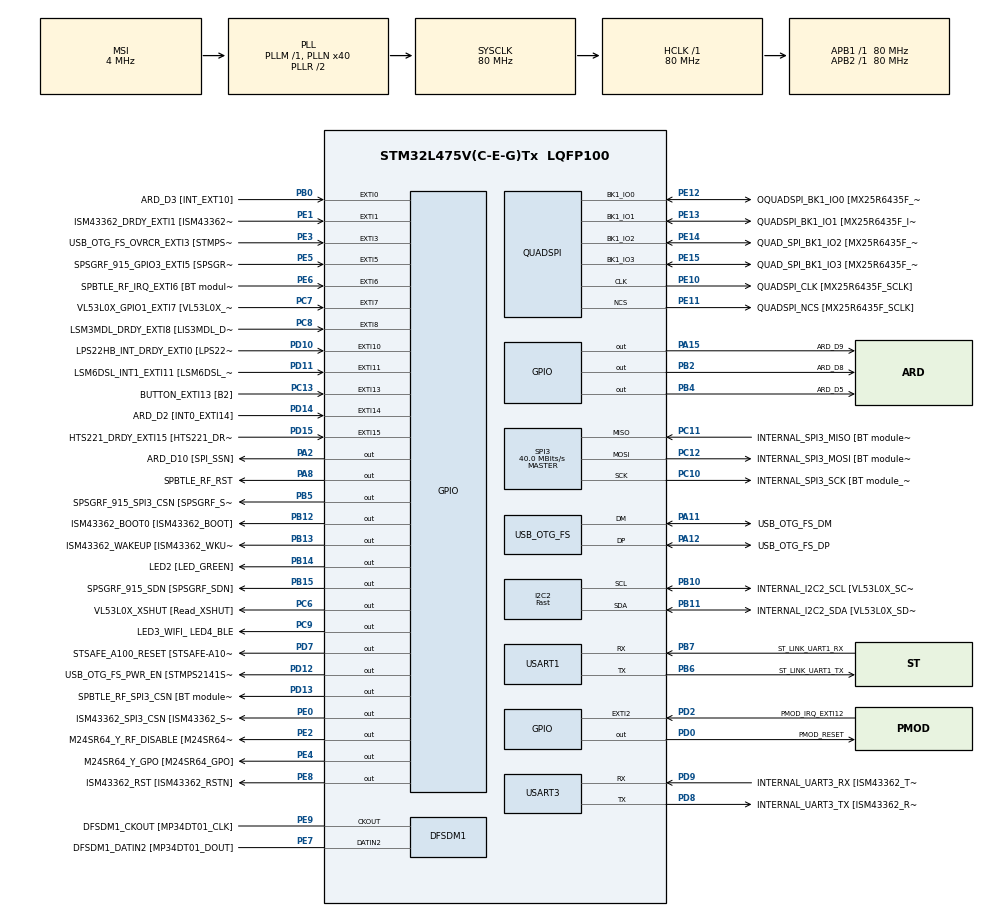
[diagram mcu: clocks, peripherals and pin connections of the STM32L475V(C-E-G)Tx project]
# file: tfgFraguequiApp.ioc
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I2C2.I2C_Speed_Mode=I2C_Fast
I2C2.Timing=0x00702991
Mcu.Family=STM32L4
Mcu.Name=STM32L475V(C-E-G)Tx
Mcu.Package=LQFP100
NVIC.EXTI15_10_IRQn=true\:0\:0\:false\:false\:true\:true\:true\:true
NVIC.EXTI9_5_IRQn=true\:0\:0\:false\:false\:true\:true\:true\:true
NVIC.PriorityGroup=NVIC_PRIORITYGROUP_4
PA0.GPIO_Label=ARD_D1 [UART4_TX]
PA0.Signal=UART4_TX
PA1.GPIO_Label=ARD_D0 [UART4_RX]
PA1.Signal=UART4_RX
PA10.GPIO_Label=USB_OTG_FS_ID
PA10.Signal=USB_OTG_FS_ID
PA11.GPIO_Label=USB_OTG_FS_DM
PA11.Mode=Device_Only
PA11.Signal=USB_OTG_FS_DM
PA12.GPIO_Label=USB_OTG_FS_DP
PA12.Mode=Device_Only
PA12.Signal=USB_OTG_FS_DP
PA13\ (JTMS-SWDIO).GPIO_Label=SYS_JTMS_SWDIO
PA13\ (JTMS-SWDIO).Mode=Serial_Wire
PA13\ (JTMS-SWDIO).Signal=SYS_JTMS-SWDIO
PA14\ (JTCK-SWCLK).GPIO_Label=SYS_JTCK_SWCLK
PA14\ (JTCK-SWCLK).Mode=Serial_Wire
PA14\ (JTCK-SWCLK).Signal=SYS_JTCK-SWCLK
PA15\ (JTDI).GPIO_Label=ARD_D9
PA15\ (JTDI).Signal=GPIO_Output
PA2.GPIO_Label=ARD_D10 [SPI_SSN]
PA2.Signal=GPIO_Output
PA3.GPIO_Label=ARD_D4
PA3.Signal=S_TIM2_CH4
PA4.GPIO_Label=ARD_D7
PA4.Signal=ADCx_IN9
PA5.GPIO_Label=ARD_D13 [SPI1_SCK]
PA5.Signal=SPI1_SCK
PA6.GPIO_Label=ARD_D12 [SPI1_MISO]
PA6.Signal=SPI1_MISO
PA7.GPIO_Label=ARD_D11 [SPI1_MOSI]
PA7.Signal=SPI1_MOSI
PA8.GPIO_Label=SPBTLE_RF_RST
PA8.Signal=GPIO_Output
PA9.GPIO_Label=USB_OTG_FS_VBUS [STMPS2141STR_OUT]
PA9.Signal=USB_OTG_FS_VBUS
PB0.GPIO_Label=ARD_D3 [INT_EXT10]
PB0.Signal=GPXTI0
PB1.GPIO_Label=ARD_D6 [ADC1_IN6]
PB1.Signal=ADCx_IN16
PB10.GPIO_Label=INTERNAL_I2C2_SCL [VL53L0X_SCL]
PB10.GPIO_Pu=GPIO_PULLUP
PB10.Mode=I2C
PB10.Signal=I2C2_SCL
PB11.GPIO_Label=INTERNAL_I2C2_SDA [VL53L0X_SDA]
PB11.GPIO_Pu=GPIO_PULLUP
PB11.Mode=I2C
PB11.Signal=I2C2_SDA
PB12.GPIO_Label=ISM43362_BOOT0 [ISM43362_BOOT]
PB12.Signal=GPIO_Output
PB13.GPIO_Label=ISM43362_WAKEUP [ISM43362_WKUP]
PB13.Signal=GPIO_Output
PB14.GPIO_Label=LED2 [LED_GREEN]
PB14.Signal=GPIO_Output
PB15.GPIO_Label=SPSGRF_915_SDN [SPSGRF_SDN]
PB15.Signal=GPIO_Output
PB2.GPIO_Label=ARD_D8
PB2.Signal=GPIO_Output
PB3\ (JTDO-TRACESWO).GPIO_Label=SYS_JTD0_SWO
PB3\ (JTDO-TRACESWO).Signal=SYS_JTDO-SWO
PB4\ (NJTRST).GPIO_Label=ARD_D5
PB4\ (NJTRST).Signal=GPIO_Output
PB5.GPIO_Label=SPSGRF_915_SPI3_CSN [SPSGRF_SPI_CS]
PB5.PinState=GPIO_PIN_SET
PB5.Signal=GPIO_Output
PB6.GPIO_Label=ST_LINK_UART1_TX
PB6.Mode=Asynchronous
PB6.Signal=USART1_TX
PB7.GPIO_Label=ST_LINK_UART1_RX
PB7.Mode=Asynchronous
PB7.Signal=USART1_RX
PB8.GPIO_Label=ARD_D15 [I2C1_SCL]
PB8.Signal=I2C1_SCL
PB9.GPIO_Label=ARD_D14 [I2C1_SDA]
PB9.Signal=I2C1_SDA
PC0.GPIO_Label=ARD_A5 [ADC]
PC0.Signal=ADCx_IN1
PC1.GPIO_Label=ARD_A4 [ADC]
PC1.Signal=ADCx_IN2
PC10.GPIO_Label=INTERNAL_SPI3_SCK [BT module_SPI_SCLK] [ISM43362_SCK]
PC10.Mode=Full_Duplex_Master
PC10.Signal=SPI3_SCK
PC11.GPIO_Label=INTERNAL_SPI3_MISO [BT module_SPI_MISO] [ISM43362_MISO]
PC11.Mode=Full_Duplex_Master
PC11.Signal=SPI3_MISO
PC12.GPIO_Label=INTERNAL_SPI3_MOSI [BT module_SPI_MOSI] [ISM43362_MOSI]
PC12.Mode=Full_Duplex_Master
PC12.Signal=SPI3_MOSI
PC13.GPIO_Label=BUTTON_EXTI13 [B2]
PC13.GPIO_ModeDefaultEXTI=GPIO_MODE_IT_FALLING
PC13.Signal=GPXTI13
PC14-OSC32_IN\ (PC14).Mode=LSE-External-Oscillator
PC14-OSC32_IN\ (PC14).Signal=RCC_OSC32_IN
PC15-OSC32_OUT\ (PC15).Mode=LSE-External-Oscillator
PC15-OSC32_OUT\ (PC15).Signal=RCC_OSC32_OUT
PC2.GPIO_Label=ARD_A3 [ADC]
PC2.Signal=ADCx_IN3
PC3.GPIO_Label=ARD_A2 [ADC]
PC3.Signal=ADCx_IN4
PC4.GPIO_Label=ARD_A1 [ADC]
PC4.Signal=ADCx_IN13
PC5.GPIO_Label=ARD_A0 [ADC]
PC5.Signal=ADCx_IN14
PC6.GPIO_Label=VL53L0X_XSHUT [Read_XSHUT]
PC6.Signal=GPIO_Output
PC7.GPIO_Label=VL53L0X_GPIO1_EXTI7 [VL53L0X_GPIO1]
PC7.Signal=GPXTI7
PC8.GPIO_Label=LSM3MDL_DRDY_EXTI8 [LIS3MDL_DRDY]
PC8.Signal=GPXTI8
PC9.GPIO_Label=LED3_WIFI_ LED4_BLE
PC9.Signal=GPIO_Output
PD0.GPIO_Label=PMOD_RESET
PD0.Signal=GPIO_Output
PD1.GPIO_Label=PMOD_SPI2_SCK
PD1.Signal=SPI2_SCK
PD10.GPIO_Label=LPS22HB_INT_DRDY_EXTI0 [LPS22HB_INT_DRDY] 
PD10.Signal=GPXTI10
PD11.GPIO_Label=LSM6DSL_INT1_EXTI11 [LSM6DSL_INT1]
PD11.Signal=GPXTI11
PD12.GPIO_Label=USB_OTG_FS_PWR_EN [STMPS2141STR_EN]
PD12.Signal=GPIO_Output
PD13.GPIO_Label=SPBTLE_RF_SPI3_CSN [BT module_SPI_CS]
PD13.PinState=GPIO_PIN_SET
PD13.Signal=GPIO_Output
PD14.GPIO_Label=ARD_D2 [INT0_EXTI14]
PD14.Signal=GPXTI14
PD15.GPIO_Label=HTS221_DRDY_EXTI15 [HTS221_DRDY]
PD15.Signal=GPXTI15
PD2.GPIO_Label=PMOD_IRQ_EXTI12
PD2.Signal=GPXTI2
PD3.GPIO_Label=PMOD_UART2_CTS
PD3.Signal=USART2_CTS
PD4.GPIO_Label=PMOD_UART2_RTS
PD4.Signal=USART2_RTS
PD5.GPIO_Label=PMOD_UART2_TX
PD5.Signal=USART2_TX
PD6.GPIO_Label=PMOD_UART2_RX
PD6.Signal=USART2_RX
PD7.GPIO_Label=STSAFE_A100_RESET [STSAFE-A100_RESET]
PD7.Signal=GPIO_Output
PD8.GPIO_Label=INTERNAL_UART3_TX [ISM43362_RX]
PD8.Mode=Asynchronous
PD8.Signal=USART3_TX
PD9.GPIO_Label=INTERNAL_UART3_RX [ISM43362_TX]
PD9.Mode=Asynchronous
PD9.Signal=USART3_RX
PE0.GPIO_Label=ISM43362_SPI3_CSN [ISM43362_SSN]
PE0.PinState=GPIO_PIN_SET
PE0.Signal=GPIO_Output
PE1.GPIO_Label=ISM43362_DRDY_EXTI1 [ISM43362_DATARDY]
PE1.Signal=GPXTI1
PE10.GPIO_Label=QUADSPI_CLK [MX25R6435F_SCLK]
PE10.Mode=Single Bank
PE10.Signal=QUADSPI_CLK
PE11.GPIO_Label=QUADSPI_NCS [MX25R6435F_SCLK]
PE11.Mode=Single Bank
PE11.Signal=QUADSPI_NCS
PE12.GPIO_Label=OQUADSPI_BK1_IO0 [MX25R6435F_IO0]
PE12.Mode=Single Bank
PE12.Signal=QUADSPI_BK1_IO0
PE13.GPIO_Label=QUADSPI_BK1_IO1 [MX25R6435F_IO1]
PE13.Mode=Single Bank
PE13.Signal=QUADSPI_BK1_IO1
PE14.GPIO_Label=QUAD_SPI_BK1_IO2 [MX25R6435F_IO2]
PE14.Mode=Single Bank
PE14.Signal=QUADSPI_BK1_IO2
PE15.GPIO_Label=QUAD_SPI_BK1_IO3 [MX25R6435F_IO3]
PE15.Mode=Single Bank
PE15.Signal=QUADSPI_BK1_IO3
PE2.GPIO_Label=M24SR64_Y_RF_DISABLE [M24SR64_RFDIS]
PE2.Signal=GPIO_Output
PE3.GPIO_Label=USB_OTG_FS_OVRCR_EXTI3 [STMPS2141STR_FAULT]
PE3.Signal=GPXTI3
PE4.GPIO_Label=M24SR64_Y_GPO [M24SR64_GPO]
PE4.Signal=GPIO_Output
PE5.GPIO_Label=SPSGRF_915_GPIO3_EXTI5 [SPSGRF_GPIO_3]
PE5.Signal=GPXTI5
PE6.GPIO_Label=SPBTLE_RF_IRQ_EXTI6 [BT module_SPI_IRQ]
PE6.Signal=GPXTI6
PE7.GPIO_Label=DFSDM1_DATIN2 [MP34DT01_DOUT]
PE7.Signal=S_DATAIN2DFSDM1
PE8.GPIO_Label=ISM43362_RST [ISM43362_RSTN]
PE8.Signal=GPIO_Output
PE9.GPIO_Label=DFSDM1_CKOUT [MP34DT01_CLK]
PE9.Signal=S_CKOUTDFSDM1
ProjectManager.HeapSize=0x800
ProjectManager.StackSize=0x800
ProjectManager.TargetToolchain=STM32CubeIDE
QUADSPI.ClockPrescaler=2
QUADSPI.FifoThreshold=4
QUADSPI.FlashSize=23
QUADSPI.SampleShifting=QSPI_SAMPLE_SHIFTING_HALFCYCLE
RCC.ADCFreq_Value=48000000
RCC.AHBFreq_Value=80000000
RCC.APB1Freq_Value=80000000
RCC.APB1TimFreq_Value=80000000
RCC.APB2Freq_Value=80000000
RCC.APB2TimFreq_Value=80000000
RCC.CortexFreq_Value=80000000
RCC.HCLKFreq_Value=80000000
RCC.HSE_VALUE=8000000
RCC.HSI_VALUE=16000000
RCC.MSI_VALUE=4000000
RCC.PLLN=40
RCC.PLLSAI1N=24
RCC.SYSCLKFreq_VALUE=80000000
RCC.SYSCLKSource=RCC_SYSCLKSOURCE_PLLCLK
RCC.USBFreq_Value=48000000
RCC.VCOOutputFreq_Value=160000000
SH.ADCx_IN1.0=ADC1_IN1
SH.ADCx_IN13.0=ADC1_IN13
SH.ADCx_IN14.0=ADC1_IN14
SH.ADCx_IN16.0=ADC1_IN16
SH.ADCx_IN2.0=ADC1_IN2
SH.ADCx_IN3.0=ADC1_IN3
SH.ADCx_IN4.0=ADC1_IN4
SH.ADCx_IN9.0=ADC1_IN9
SH.S_CKOUTDFSDM1.0=DFSDM1_CKOUT,CKOUT
SH.S_CKOUTDFSDM1.1=DFSDM1_CKOUT,PDM_SPI_Input_from_ch12_and_Internal_Clock
SH.S_DATAIN2DFSDM1.0=DFSDM1_DATIN2,PDM_SPI_Input_from_ch12_and_Internal_Clock
SH.S_TIM2_CH4.0=TIM2_CH4
SPI3.CalculateBaudRate=40.0 MBits/s
SPI3.Direction=SPI_DIRECTION_2LINES
SPI3.Mode=SPI_MODE_MASTER
SPI3.VirtualType=VM_MASTER
STMicroelectronics.X-CUBE-AI.7.0.0.ActivationBufferSizeList=1472
STMicroelectronics.X-CUBE-AI.7.0.0.ApplicationCcDeviceJjApplication=ApplicationTemplate
STMicroelectronics.X-CUBE-AI.7.0.0.HeapSize=0x800
STMicroelectronics.X-CUBE-AI.7.0.0.InternalRamActivationBufferMaxSize=AI_NETWORK_DATA_ACTIVATIONS_SIZE
STMicroelectronics.X-CUBE-AI.7.0.0.LatestDirectoryUsed-fd51b208bc7f5b5dbec0860b96c70bfea0aa031cf6f197a00f942a3fe76f173a=C\:\\Users\\usuario\\Desktop\\SCRIPTS TFG
STMicroelectronics.X-CUBE-AI.7.0.0.MaximumNumberOfInputLayer=1
STMicroelectronics.X-CUBE-AI.7.0.0.MaximumNumberOfOutputLayer=1
STMicroelectronics.X-CUBE-AI.7.0.0.MaximumSizeOfInputLayer=AI_NETWORK_IN_1_SIZE_BYTES
STMicroelectronics.X-CUBE-AI.7.0.0.MaximumSizeOfOutputLayer=AI_NETWORK_OUT_1_SIZE_BYTES
STMicroelectronics.X-CUBE-AI.7.0.0.ModelActualCompression-fd51b208bc7f5b5dbec0860b96c70bfea0aa031cf6f197a00f942a3fe76f173a=0.0
STMicroelectronics.X-CUBE-AI.7.0.0.ModelCompression-fd51b208bc7f5b5dbec0860b96c70bfea0aa031cf6f197a00f942a3fe76f173a=1
STMicroelectronics.X-CUBE-AI.7.0.0.ModelFlashOccupation-fd51b208bc7f5b5dbec0860b96c70bfea0aa031cf6f197a00f942a3fe76f173a=7492
STMicroelectronics.X-CUBE-AI.7.0.0.ModelHashList=fd51b208bc7f5b5dbec0860b96c70bfea0aa031cf6f197a00f942a3fe76f173a
STMicroelectronics.X-CUBE-AI.7.0.0.ModelKind-fd51b208bc7f5b5dbec0860b96c70bfea0aa031cf6f197a00f942a3fe76f173a=KERAS
STMicroelectronics.X-CUBE-AI.7.0.0.ModelMacc-fd51b208bc7f5b5dbec0860b96c70bfea0aa031cf6f197a00f942a3fe76f173a=16686
STMicroelectronics.X-CUBE-AI.7.0.0.ModelName-fd51b208bc7f5b5dbec0860b96c70bfea0aa031cf6f197a00f942a3fe76f173a=network
STMicroelectronics.X-CUBE-AI.7.0.0.ModelNameList=network
STMicroelectronics.X-CUBE-AI.7.0.0.ModelRamOccupation-fd51b208bc7f5b5dbec0860b96c70bfea0aa031cf6f197a00f942a3fe76f173a=1472
STMicroelectronics.X-CUBE-AI.7.0.0.ModelStructureFile-fd51b208bc7f5b5dbec0860b96c70bfea0aa031cf6f197a00f942a3fe76f173a=C\:\\Users\\usuario\\Desktop\\SCRIPTS TFG\\tfg.h5
STMicroelectronics.X-CUBE-AI.7.0.0.ModelType-fd51b208bc7f5b5dbec0860b96c70bfea0aa031cf6f197a00f942a3fe76f173a=Saved model
STMicroelectronics.X-CUBE-AI.7.0.0.ReadyForCodeGeneration=true
STMicroelectronics.X-CUBE-AI.7.0.0.StackSize=0x800
STMicroelectronics.X-CUBE-AI.7.0.0.ValidationInputFile-fd51b208bc7f5b5dbec0860b96c70bfea0aa031cf6f197a00f942a3fe76f173a=C\:\\Users\\usuario\\Desktop\\SCRIPTS TFG\\tfg3movsin.csv
STMicroelectronics.X-CUBE-AI.7.0.0.ValidationOutputFile-fd51b208bc7f5b5dbec0860b96c70bfea0aa031cf6f197a00f942a3fe76f173a=C\:\\Users\\usuario\\Desktop\\SCRIPTS TFG\\tfg3movsout.csv
STMicroelectronics.X-CUBE-AI.7.0.0.WorkingBufferStartAddrList=0xFFFFFFFF
STMicroelectronics.X-CUBE-AI.7.0.0.XAaCUBEAaAICcArtificialOoIntelligenceJjCore=true
TIM1.Prescaler=79
USART1.VirtualMode-Asynchronous=VM_ASYNC
USART3.VirtualMode-Asynchronous=VM_ASYNC
USB_OTG_FS.VirtualMode=Device_Only
VP_CRC_VS_CRC.Mode=CRC_Activate
VP_STMicroelectronics.X-CUBE-AI_VS_ArtificialOoIntelligenceJjXAaCUBEAaAI_7.0.0.Mode=ArtificialOoIntelligenceJjXAaCUBEAaAI
VP_STMicroelectronics.X-CUBE-AI_VS_DeviceJjApplication_7.0.0.Mode=DeviceJjApplication
VP_TIM1_VS_ClockSourceINT.Mode=Internal
board=B-L475E-IOT01A2

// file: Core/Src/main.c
/* USER CODE BEGIN Header */
/**
  ******************************************************************************
  * @file           : main.c
  * @brief          : Main program body
  ******************************************************************************
  * @attention
  *
  * Copyright (c) 2023 STMicroelectronics.
  * All rights reserved.
  *
  * This software is licensed under terms that can be found in the LICENSE file
  * in the root directory of this software component.
  * If no LICENSE file comes with this software, it is provided AS-IS.
  *
  ******************************************************************************
  */
/* USER CODE END Header */
#include "main.h"
#include "app_x-cube-ai.h"

/* USER CODE BEGIN Includes */
#include <stdio.h>
/* USER CODE END Includes */

/* USER CODE BEGIN PD */
#define WRITE_ADDR 0xD4
#define READ_ADDR 0xD5
#define ACEL_CONTROL_REG 0x10
#define GIR_CONTROL_REG 0x11
#define REG_ACEL 0x28
#define REG_GIR 0x22
#define REG_STATUS 0x1E
#define ACEL_SENSIVITY 0.061f
#define GIR_SENSIVITY  0.07f
#define SENSORS_DATA_RATE 26
#define MEASUREMENT_RANGE 2000.0f
#define SENSORS_DATA_RATE 26
/* USER CODE END PD */

CRC_HandleTypeDef hcrc;

DFSDM_Channel_HandleTypeDef hdfsdm1_channel1;

I2C_HandleTypeDef hi2c2;

QSPI_HandleTypeDef hqspi;

SPI_HandleTypeDef hspi3;

TIM_HandleTypeDef htim1;

UART_HandleTypeDef huart1;
UART_HandleTypeDef huart3;

PCD_HandleTypeDef hpcd_USB_OTG_FS;

void SystemClock_Config(void);
static void MX_GPIO_Init(void);
static void MX_DFSDM1_Init(void);
static void MX_I2C2_Init(void);
static void MX_QUADSPI_Init(void);
static void MX_SPI3_Init(void);
static void MX_USART1_UART_Init(void);
static void MX_USART3_UART_Init(void);
static void MX_USB_OTG_FS_PCD_Init(void);
static void MX_CRC_Init(void);
static void MX_TIM1_Init(void);
/* USER CODE BEGIN PFP */
void initSensors();
void readSensors();
/* USER CODE END PFP */

/* USER CODE BEGIN 0 */
float acelBuff[3];
float girBuff[3];
const char * movements [AI_NETWORK_OUT_1_SIZE] = {"parado","andar","correr","bici"};
uint16_t timerValue;
/* USER CODE END 0 */

int main(void)
{

  /* MCU Configuration--------------------------------------------------------*/

  /* Reset of all peripherals, Initializes the Flash interface and the Systick. */
  HAL_Init();

  /* Configure the system clock */
  SystemClock_Config();

  /* Initialize all configured peripherals */
  MX_GPIO_Init();
  MX_DFSDM1_Init();
  MX_I2C2_Init();
  MX_QUADSPI_Init();
  MX_SPI3_Init();
  MX_USART1_UART_Init();
  MX_USART3_UART_Init();
  MX_USB_OTG_FS_PCD_Init();
  MX_CRC_Init();
  MX_TIM1_Init();
  MX_X_CUBE_AI_Init();
  /* USER CODE BEGIN 2 */
  initSensors();
  HAL_TIM_Base_Start(&htim1);
  /* USER CODE END 2 */

  /* Infinite loop */
  while (1)
  {

  MX_X_CUBE_AI_Process();
  }
}

void SystemClock_Config(void)
{
  RCC_OscInitTypeDef RCC_OscInitStruct = {0};
  RCC_ClkInitTypeDef RCC_ClkInitStruct = {0};

  /** Configure the main internal regulator output voltage
  */
  if (HAL_PWREx_ControlVoltageScaling(PWR_REGULATOR_VOLTAGE_SCALE1) != HAL_OK)
  {
    Error_Handler();
  }

  /** Configure LSE Drive Capability
  */
  HAL_PWR_EnableBkUpAccess();
  __HAL_RCC_LSEDRIVE_CONFIG(RCC_LSEDRIVE_LOW);

  /** Initializes the RCC Oscillators according to the specified parameters
  * in the RCC_OscInitTypeDef structure.
  */
  RCC_OscInitStruct.OscillatorType = RCC_OSCILLATORTYPE_LSE|RCC_OSCILLATORTYPE_MSI;
  RCC_OscInitStruct.LSEState = RCC_LSE_ON;
  RCC_OscInitStruct.MSIState = RCC_MSI_ON;
  RCC_OscInitStruct.MSICalibrationValue = 0;
  RCC_OscInitStruct.MSIClockRange = RCC_MSIRANGE_6;
  RCC_OscInitStruct.PLL.PLLState = RCC_PLL_ON;
  RCC_OscInitStruct.PLL.PLLSource = RCC_PLLSOURCE_MSI;
  RCC_OscInitStruct.PLL.PLLM = 1;
  RCC_OscInitStruct.PLL.PLLN = 40;
  RCC_OscInitStruct.PLL.PLLP = RCC_PLLP_DIV7;
  RCC_OscInitStruct.PLL.PLLQ = RCC_PLLQ_DIV2;
  RCC_OscInitStruct.PLL.PLLR = RCC_PLLR_DIV2;
  if (HAL_RCC_OscConfig(&RCC_OscInitStruct) != HAL_OK)
  {
    Error_Handler();
  }

  /** Initializes the CPU, AHB and APB buses clocks
  */
  RCC_ClkInitStruct.ClockType = RCC_CLOCKTYPE_HCLK|RCC_CLOCKTYPE_SYSCLK
                              |RCC_CLOCKTYPE_PCLK1|RCC_CLOCKTYPE_PCLK2;
  RCC_ClkInitStruct.SYSCLKSource = RCC_SYSCLKSOURCE_PLLCLK;
  RCC_ClkInitStruct.AHBCLKDivider = RCC_SYSCLK_DIV1;
  RCC_ClkInitStruct.APB1CLKDivider = RCC_HCLK_DIV1;
  RCC_ClkInitStruct.APB2CLKDivider = RCC_HCLK_DIV1;

  if (HAL_RCC_ClockConfig(&RCC_ClkInitStruct, FLASH_LATENCY_4) != HAL_OK)
  {
    Error_Handler();
  }

  /** Enable MSI Auto calibration
  */
  HAL_RCCEx_EnableMSIPLLMode();
}

static void MX_CRC_Init(void)
{

  hcrc.Instance = CRC;
  hcrc.Init.DefaultPolynomialUse = DEFAULT_POLYNOMIAL_ENABLE;
  hcrc.Init.DefaultInitValueUse = DEFAULT_INIT_VALUE_ENABLE;
  hcrc.Init.InputDataInversionMode = CRC_INPUTDATA_INVERSION_NONE;
  hcrc.Init.OutputDataInversionMode = CRC_OUTPUTDATA_INVERSION_DISABLE;
  hcrc.InputDataFormat = CRC_INPUTDATA_FORMAT_BYTES;
  if (HAL_CRC_Init(&hcrc) != HAL_OK)
  {
    Error_Handler();
  }

}

static void MX_DFSDM1_Init(void)
{

  hdfsdm1_channel1.Instance = DFSDM1_Channel1;
  hdfsdm1_channel1.Init.OutputClock.Activation = ENABLE;
  hdfsdm1_channel1.Init.OutputClock.Selection = DFSDM_CHANNEL_OUTPUT_CLOCK_SYSTEM;
  hdfsdm1_channel1.Init.OutputClock.Divider = 2;
  hdfsdm1_channel1.Init.Input.Multiplexer = DFSDM_CHANNEL_EXTERNAL_INPUTS;
  hdfsdm1_channel1.Init.Input.DataPacking = DFSDM_CHANNEL_STANDARD_MODE;
  hdfsdm1_channel1.Init.Input.Pins = DFSDM_CHANNEL_FOLLOWING_CHANNEL_PINS;
  hdfsdm1_channel1.Init.SerialInterface.Type = DFSDM_CHANNEL_SPI_RISING;
  hdfsdm1_channel1.Init.SerialInterface.SpiClock = DFSDM_CHANNEL_SPI_CLOCK_INTERNAL;
  hdfsdm1_channel1.Init.Awd.FilterOrder = DFSDM_CHANNEL_FASTSINC_ORDER;
  hdfsdm1_channel1.Init.Awd.Oversampling = 1;
  hdfsdm1_channel1.Init.Offset = 0;
  hdfsdm1_channel1.Init.RightBitShift = 0x00;
  if (HAL_DFSDM_ChannelInit(&hdfsdm1_channel1) != HAL_OK)
  {
    Error_Handler();
  }

}

static void MX_I2C2_Init(void)
{

  hi2c2.Instance = I2C2;
  hi2c2.Init.Timing = 0x00702991;
  hi2c2.Init.OwnAddress1 = 0;
  hi2c2.Init.AddressingMode = I2C_ADDRESSINGMODE_7BIT;
  hi2c2.Init.DualAddressMode = I2C_DUALADDRESS_DISABLE;
  hi2c2.Init.OwnAddress2 = 0;
  hi2c2.Init.OwnAddress2Masks = I2C_OA2_NOMASK;
  hi2c2.Init.GeneralCallMode = I2C_GENERALCALL_DISABLE;
  hi2c2.Init.NoStretchMode = I2C_NOSTRETCH_DISABLE;
  if (HAL_I2C_Init(&hi2c2) != HAL_OK)
  {
    Error_Handler();
  }

  /** Configure Analogue filter
  */
  if (HAL_I2CEx_ConfigAnalogFilter(&hi2c2, I2C_ANALOGFILTER_ENABLE) != HAL_OK)
  {
    Error_Handler();
  }

  /** Configure Digital filter
  */
  if (HAL_I2CEx_ConfigDigitalFilter(&hi2c2, 0) != HAL_OK)
  {
    Error_Handler();
  }

}

static void MX_QUADSPI_Init(void)
{

  /* QUADSPI parameter configuration*/
  hqspi.Instance = QUADSPI;
  hqspi.Init.ClockPrescaler = 2;
  hqspi.Init.FifoThreshold = 4;
  hqspi.Init.SampleShifting = QSPI_SAMPLE_SHIFTING_HALFCYCLE;
  hqspi.Init.FlashSize = 23;
  hqspi.Init.ChipSelectHighTime = QSPI_CS_HIGH_TIME_1_CYCLE;
  hqspi.Init.ClockMode = QSPI_CLOCK_MODE_0;
  if (HAL_QSPI_Init(&hqspi) != HAL_OK)
  {
    Error_Handler();
  }

}

static void MX_SPI3_Init(void)
{

  /* SPI3 parameter configuration*/
  hspi3.Instance = SPI3;
  hspi3.Init.Mode = SPI_MODE_MASTER;
  hspi3.Init.Direction = SPI_DIRECTION_2LINES;
  hspi3.Init.DataSize = SPI_DATASIZE_4BIT;
  hspi3.Init.CLKPolarity = SPI_POLARITY_LOW;
  hspi3.Init.CLKPhase = SPI_PHASE_1EDGE;
  hspi3.Init.NSS = SPI_NSS_SOFT;
  hspi3.Init.BaudRatePrescaler = SPI_BAUDRATEPRESCALER_2;
  hspi3.Init.FirstBit = SPI_FIRSTBIT_MSB;
  hspi3.Init.TIMode = SPI_TIMODE_DISABLE;
  hspi3.Init.CRCCalculation = SPI_CRCCALCULATION_DISABLE;
  hspi3.Init.CRCPolynomial = 7;
  hspi3.Init.CRCLength = SPI_CRC_LENGTH_DATASIZE;
  hspi3.Init.NSSPMode = SPI_NSS_PULSE_ENABLE;
  if (HAL_SPI_Init(&hspi3) != HAL_OK)
  {
    Error_Handler();
  }

}

static void MX_TIM1_Init(void)
{

  TIM_ClockConfigTypeDef sClockSourceConfig = {0};
  TIM_MasterConfigTypeDef sMasterConfig = {0};

  htim1.Instance = TIM1;
  htim1.Init.Prescaler = 79;
  htim1.Init.CounterMode = TIM_COUNTERMODE_UP;
  htim1.Init.Period = 65535;
  htim1.Init.ClockDivision = TIM_CLOCKDIVISION_DIV1;
  htim1.Init.RepetitionCounter = 0;
  htim1.Init.AutoReloadPreload = TIM_AUTORELOAD_PRELOAD_DISABLE;
  if (HAL_TIM_Base_Init(&htim1) != HAL_OK)
  {
    Error_Handler();
  }
  sClockSourceConfig.ClockSource = TIM_CLOCKSOURCE_INTERNAL;
  if (HAL_TIM_ConfigClockSource(&htim1, &sClockSourceConfig) != HAL_OK)
  {
    Error_Handler();
  }
  sMasterConfig.MasterOutputTrigger = TIM_TRGO_RESET;
  sMasterConfig.MasterOutputTrigger2 = TIM_TRGO2_RESET;
  sMasterConfig.MasterSlaveMode = TIM_MASTERSLAVEMODE_DISABLE;
  if (HAL_TIMEx_MasterConfigSynchronization(&htim1, &sMasterConfig) != HAL_OK)
  {
    Error_Handler();
  }

}

static void MX_USART1_UART_Init(void)
{

  huart1.Instance = USART1;
  huart1.Init.BaudRate = 115200;
  huart1.Init.WordLength = UART_WORDLENGTH_8B;
  huart1.Init.StopBits = UART_STOPBITS_1;
  huart1.Init.Parity = UART_PARITY_NONE;
  huart1.Init.Mode = UART_MODE_TX_RX;
  huart1.Init.HwFlowCtl = UART_HWCONTROL_NONE;
  huart1.Init.OverSampling = UART_OVERSAMPLING_16;
  huart1.Init.OneBitSampling = UART_ONE_BIT_SAMPLE_DISABLE;
  huart1.AdvancedInit.AdvFeatureInit = UART_ADVFEATURE_NO_INIT;
  if (HAL_UART_Init(&huart1) != HAL_OK)
  {
    Error_Handler();
  }

}

static void MX_USART3_UART_Init(void)
{

  huart3.Instance = USART3;
  huart3.Init.BaudRate = 115200;
  huart3.Init.WordLength = UART_WORDLENGTH_8B;
  huart3.Init.StopBits = UART_STOPBITS_1;
  huart3.Init.Parity = UART_PARITY_NONE;
  huart3.Init.Mode = UART_MODE_TX_RX;
  huart3.Init.HwFlowCtl = UART_HWCONTROL_NONE;
  huart3.Init.OverSampling = UART_OVERSAMPLING_16;
  huart3.Init.OneBitSampling = UART_ONE_BIT_SAMPLE_DISABLE;
  huart3.AdvancedInit.AdvFeatureInit = UART_ADVFEATURE_NO_INIT;
  if (HAL_UART_Init(&huart3) != HAL_OK)
  {
    Error_Handler();
  }

}

static void MX_USB_OTG_FS_PCD_Init(void)
{

  hpcd_USB_OTG_FS.Instance = USB_OTG_FS;
  hpcd_USB_OTG_FS.Init.dev_endpoints = 6;
  hpcd_USB_OTG_FS.Init.speed = PCD_SPEED_FULL;
  hpcd_USB_OTG_FS.Init.phy_itface = PCD_PHY_EMBEDDED;
  hpcd_USB_OTG_FS.Init.Sof_enable = DISABLE;
  hpcd_USB_OTG_FS.Init.low_power_enable = DISABLE;
  hpcd_USB_OTG_FS.Init.lpm_enable = DISABLE;
  hpcd_USB_OTG_FS.Init.battery_charging_enable = DISABLE;
  hpcd_USB_OTG_FS.Init.use_dedicated_ep1 = DISABLE;
  hpcd_USB_OTG_FS.Init.vbus_sensing_enable = DISABLE;
  if (HAL_PCD_Init(&hpcd_USB_OTG_FS) != HAL_OK)
  {
    Error_Handler();
  }

}

static void MX_GPIO_Init(void)
{
  GPIO_InitTypeDef GPIO_InitStruct = {0};

  /* GPIO Ports Clock Enable */
  __HAL_RCC_GPIOE_CLK_ENABLE();
  __HAL_RCC_GPIOC_CLK_ENABLE();
  __HAL_RCC_GPIOA_CLK_ENABLE();
  __HAL_RCC_GPIOB_CLK_ENABLE();
  __HAL_RCC_GPIOD_CLK_ENABLE();

  /*Configure GPIO pin Output Level */
  HAL_GPIO_WritePin(GPIOE, M24SR64_Y_RF_DISABLE_Pin|M24SR64_Y_GPO_Pin|ISM43362_RST_Pin, GPIO_PIN_RESET);

  /*Configure GPIO pin Output Level */
  HAL_GPIO_WritePin(GPIOA, ARD_D10_Pin|SPBTLE_RF_RST_Pin|ARD_D9_Pin, GPIO_PIN_RESET);

  /*Configure GPIO pin Output Level */
  HAL_GPIO_WritePin(GPIOB, ARD_D8_Pin|ISM43362_BOOT0_Pin|ISM43362_WAKEUP_Pin|LED2_Pin
                          |SPSGRF_915_SDN_Pin|ARD_D5_Pin, GPIO_PIN_RESET);

  /*Configure GPIO pin Output Level */
  HAL_GPIO_WritePin(GPIOD, USB_OTG_FS_PWR_EN_Pin|PMOD_RESET_Pin|STSAFE_A100_RESET_Pin, GPIO_PIN_RESET);

  /*Configure GPIO pin Output Level */
  HAL_GPIO_WritePin(SPBTLE_RF_SPI3_CSN_GPIO_Port, SPBTLE_RF_SPI3_CSN_Pin, GPIO_PIN_SET);

  /*Configure GPIO pin Output Level */
  HAL_GPIO_WritePin(GPIOC, VL53L0X_XSHUT_Pin|LED3_WIFI__LED4_BLE_Pin, GPIO_PIN_RESET);

  /*Configure GPIO pin Output Level */
  HAL_GPIO_WritePin(SPSGRF_915_SPI3_CSN_GPIO_Port, SPSGRF_915_SPI3_CSN_Pin, GPIO_PIN_SET);

  /*Configure GPIO pin Output Level */
  HAL_GPIO_WritePin(ISM43362_SPI3_CSN_GPIO_Port, ISM43362_SPI3_CSN_Pin, GPIO_PIN_SET);

  /*Configure GPIO pins : M24SR64_Y_RF_DISABLE_Pin M24SR64_Y_GPO_Pin ISM43362_RST_Pin ISM43362_SPI3_CSN_Pin */
  GPIO_InitStruct.Pin = M24SR64_Y_RF_DISABLE_Pin|M24SR64_Y_GPO_Pin|ISM43362_RST_Pin|ISM43362_SPI3_CSN_Pin;
  GPIO_InitStruct.Mode = GPIO_MODE_OUTPUT_PP;
  GPIO_InitStruct.Pull = GPIO_NOPULL;
  GPIO_InitStruct.Speed = GPIO_SPEED_FREQ_LOW;
  HAL_GPIO_Init(GPIOE, &GPIO_InitStruct);

  /*Configure GPIO pins : USB_OTG_FS_OVRCR_EXTI3_Pin SPSGRF_915_GPIO3_EXTI5_Pin SPBTLE_RF_IRQ_EXTI6_Pin ISM43362_DRDY_EXTI1_Pin */
  GPIO_InitStruct.Pin = USB_OTG_FS_OVRCR_EXTI3_Pin|SPSGRF_915_GPIO3_EXTI5_Pin|SPBTLE_RF_IRQ_EXTI6_Pin|ISM43362_DRDY_EXTI1_Pin;
  GPIO_InitStruct.Mode = GPIO_MODE_IT_RISING;
  GPIO_InitStruct.Pull = GPIO_NOPULL;
  HAL_GPIO_Init(GPIOE, &GPIO_InitStruct);

  /*Configure GPIO pin : BUTTON_EXTI13_Pin */
  GPIO_InitStruct.Pin = BUTTON_EXTI13_Pin;
  GPIO_InitStruct.Mode = GPIO_MODE_IT_FALLING;
  GPIO_InitStruct.Pull = GPIO_NOPULL;
  HAL_GPIO_Init(BUTTON_EXTI13_GPIO_Port, &GPIO_InitStruct);

  /*Configure GPIO pins : ARD_A5_Pin ARD_A4_Pin ARD_A3_Pin ARD_A2_Pin
                           ARD_A1_Pin ARD_A0_Pin */
  GPIO_InitStruct.Pin = ARD_A5_Pin|ARD_A4_Pin|ARD_A3_Pin|ARD_A2_Pin
                          |ARD_A1_Pin|ARD_A0_Pin;
  GPIO_InitStruct.Mode = GPIO_MODE_ANALOG_ADC_CONTROL;
  GPIO_InitStruct.Pull = GPIO_NOPULL;
  HAL_GPIO_Init(GPIOC, &GPIO_InitStruct);

  /*Configure GPIO pins : ARD_D1_Pin ARD_D0_Pin */
  GPIO_InitStruct.Pin = ARD_D1_Pin|ARD_D0_Pin;
  GPIO_InitStruct.Mode = GPIO_MODE_AF_PP;
  GPIO_InitStruct.Pull = GPIO_NOPULL;
  GPIO_InitStruct.Speed = GPIO_SPEED_FREQ_VERY_HIGH;
  GPIO_InitStruct.Alternate = GPIO_AF8_UART4;
  HAL_GPIO_Init(GPIOA, &GPIO_InitStruct);

  /*Configure GPIO pins : ARD_D10_Pin SPBTLE_RF_RST_Pin ARD_D9_Pin */
  GPIO_InitStruct.Pin = ARD_D10_Pin|SPBTLE_RF_RST_Pin|ARD_D9_Pin;
  GPIO_InitStruct.Mode = GPIO_MODE_OUTPUT_PP;
  GPIO_InitStruct.Pull = GPIO_NOPULL;
  GPIO_InitStruct.Speed = GPIO_SPEED_FREQ_LOW;
  HAL_GPIO_Init(GPIOA, &GPIO_InitStruct);

  /*Configure GPIO pin : ARD_D4_Pin */
  GPIO_InitStruct.Pin = ARD_D4_Pin;
  GPIO_InitStruct.Mode = GPIO_MODE_AF_PP;
  GPIO_InitStruct.Pull = GPIO_NOPULL;
  GPIO_InitStruct.Speed = GPIO_SPEED_FREQ_LOW;
  GPIO_InitStruct.Alternate = GPIO_AF1_TIM2;
  HAL_GPIO_Init(ARD_D4_GPIO_Port, &GPIO_InitStruct);

  /*Configure GPIO pin : ARD_D7_Pin */
  GPIO_InitStruct.Pin = ARD_D7_Pin;
  GPIO_InitStruct.Mode = GPIO_MODE_ANALOG_ADC_CONTROL;
  GPIO_InitStruct.Pull = GPIO_NOPULL;
  HAL_GPIO_Init(ARD_D7_GPIO_Port, &GPIO_InitStruct);

  /*Configure GPIO pins : ARD_D13_Pin ARD_D12_Pin ARD_D11_Pin */
  GPIO_InitStruct.Pin = ARD_D13_Pin|ARD_D12_Pin|ARD_D11_Pin;
  GPIO_InitStruct.Mode = GPIO_MODE_AF_PP;
  GPIO_InitStruct.Pull = GPIO_NOPULL;
  GPIO_InitStruct.Speed = GPIO_SPEED_FREQ_VERY_HIGH;
  GPIO_InitStruct.Alternate = GPIO_AF5_SPI1;
  HAL_GPIO_Init(GPIOA, &GPIO_InitStruct);

  /*Configure GPIO pin : ARD_D3_Pin */
  GPIO_InitStruct.Pin = ARD_D3_Pin;
  GPIO_InitStruct.Mode = GPIO_MODE_IT_RISING;
  GPIO_InitStruct.Pull = GPIO_NOPULL;
  HAL_GPIO_Init(ARD_D3_GPIO_Port, &GPIO_InitStruct);

  /*Configure GPIO pin : ARD_D6_Pin */
  GPIO_InitStruct.Pin = ARD_D6_Pin;
  GPIO_InitStruct.Mode = GPIO_MODE_ANALOG_ADC_CONTROL;
  GPIO_InitStruct.Pull = GPIO_NOPULL;
  HAL_GPIO_Init(ARD_D6_GPIO_Port, &GPIO_InitStruct);

  /*Configure GPIO pins : ARD_D8_Pin ISM43362_BOOT0_Pin ISM43362_WAKEUP_Pin LED2_Pin
                           SPSGRF_915_SDN_Pin ARD_D5_Pin SPSGRF_915_SPI3_CSN_Pin */
  GPIO_InitStruct.Pin = ARD_D8_Pin|ISM43362_BOOT0_Pin|ISM43362_WAKEUP_Pin|LED2_Pin
                          |SPSGRF_915_SDN_Pin|ARD_D5_Pin|SPSGRF_915_SPI3_CSN_Pin;
  GPIO_InitStruct.Mode = GPIO_MODE_OUTPUT_PP;
  GPIO_InitStruct.Pull = GPIO_NOPULL;
  GPIO_InitStruct.Speed = GPIO_SPEED_FREQ_LOW;
  HAL_GPIO_Init(GPIOB, &GPIO_InitStruct);

  /*Configure GPIO pins : LPS22HB_INT_DRDY_EXTI0_Pin LSM6DSL_INT1_EXTI11_Pin ARD_D2_Pin HTS221_DRDY_EXTI15_Pin
                           PMOD_IRQ_EXTI12_Pin */
  GPIO_InitStruct.Pin = LPS22HB_INT_DRDY_EXTI0_Pin|LSM6DSL_INT1_EXTI11_Pin|ARD_D2_Pin|HTS221_DRDY_EXTI15_Pin
                          |PMOD_IRQ_EXTI12_Pin;
  GPIO_InitStruct.Mode = GPIO_MODE_IT_RISING;
  GPIO_InitStruct.Pull = GPIO_NOPULL;
  HAL_GPIO_Init(GPIOD, &GPIO_InitStruct);

  /*Configure GPIO pins : USB_OTG_FS_PWR_EN_Pin SPBTLE_RF_SPI3_CSN_Pin PMOD_RESET_Pin STSAFE_A100_RESET_Pin */
  GPIO_InitStruct.Pin = USB_OTG_FS_PWR_EN_Pin|SPBTLE_RF_SPI3_CSN_Pin|PMOD_RESET_Pin|STSAFE_A100_RESET_Pin;
  GPIO_InitStruct.Mode = GPIO_MODE_OUTPUT_PP;
  GPIO_InitStruct.Pull = GPIO_NOPULL;
  GPIO_InitStruct.Speed = GPIO_SPEED_FREQ_LOW;
  HAL_GPIO_Init(GPIOD, &GPIO_InitStruct);

  /*Configure GPIO pins : VL53L0X_XSHUT_Pin LED3_WIFI__LED4_BLE_Pin */
  GPIO_InitStruct.Pin = VL53L0X_XSHUT_Pin|LED3_WIFI__LED4_BLE_Pin;
  GPIO_InitStruct.Mode = GPIO_MODE_OUTPUT_PP;
  GPIO_InitStruct.Pull = GPIO_NOPULL;
  GPIO_InitStruct.Speed = GPIO_SPEED_FREQ_LOW;
  HAL_GPIO_Init(GPIOC, &GPIO_InitStruct);

  /*Configure GPIO pins : VL53L0X_GPIO1_EXTI7_Pin LSM3MDL_DRDY_EXTI8_Pin */
  GPIO_InitStruct.Pin = VL53L0X_GPIO1_EXTI7_Pin|LSM3MDL_DRDY_EXTI8_Pin;
  GPIO_InitStruct.Mode = GPIO_MODE_IT_RISING;
  GPIO_InitStruct.Pull = GPIO_NOPULL;
  HAL_GPIO_Init(GPIOC, &GPIO_InitStruct);

  /*Configure GPIO pin : PMOD_SPI2_SCK_Pin */
  GPIO_InitStruct.Pin = PMOD_SPI2_SCK_Pin;
  GPIO_InitStruct.Mode = GPIO_MODE_AF_PP;
  GPIO_InitStruct.Pull = GPIO_NOPULL;
  GPIO_InitStruct.Speed = GPIO_SPEED_FREQ_VERY_HIGH;
  GPIO_InitStruct.Alternate = GPIO_AF5_SPI2;
  HAL_GPIO_Init(PMOD_SPI2_SCK_GPIO_Port, &GPIO_InitStruct);

  /*Configure GPIO pins : PMOD_UART2_CTS_Pin PMOD_UART2_RTS_Pin PMOD_UART2_TX_Pin PMOD_UART2_RX_Pin */
  GPIO_InitStruct.Pin = PMOD_UART2_CTS_Pin|PMOD_UART2_RTS_Pin|PMOD_UART2_TX_Pin|PMOD_UART2_RX_Pin;
  GPIO_InitStruct.Mode = GPIO_MODE_AF_PP;
  GPIO_InitStruct.Pull = GPIO_NOPULL;
  GPIO_InitStruct.Speed = GPIO_SPEED_FREQ_VERY_HIGH;
  GPIO_InitStruct.Alternate = GPIO_AF7_USART2;
  HAL_GPIO_Init(GPIOD, &GPIO_InitStruct);

  /*Configure GPIO pins : ARD_D15_Pin ARD_D14_Pin */
  GPIO_InitStruct.Pin = ARD_D15_Pin|ARD_D14_Pin;
  GPIO_InitStruct.Mode = GPIO_MODE_AF_OD;
  GPIO_InitStruct.Pull = GPIO_NOPULL;
  GPIO_InitStruct.Speed = GPIO_SPEED_FREQ_VERY_HIGH;
  GPIO_InitStruct.Alternate = GPIO_AF4_I2C1;
  HAL_GPIO_Init(GPIOB, &GPIO_InitStruct);

  /* EXTI interrupt init*/
  HAL_NVIC_SetPriority(EXTI9_5_IRQn, 0, 0);
  HAL_NVIC_EnableIRQ(EXTI9_5_IRQn);

  HAL_NVIC_SetPriority(EXTI15_10_IRQn, 0, 0);
  HAL_NVIC_EnableIRQ(EXTI15_10_IRQn);

}

/* USER CODE BEGIN 4 */
void initSensors()
{

	uint8_t acelConfig [1] = {0x20};
	uint8_t girConfig [1] = {0x2C};

	HAL_I2C_Mem_Write(&hi2c2, WRITE_ADDR, GIR_CONTROL_REG, I2C_MEMADD_SIZE_8BIT, girConfig, 1, 100);

	HAL_I2C_Mem_Write(&hi2c2, WRITE_ADDR, ACEL_CONTROL_REG, I2C_MEMADD_SIZE_8BIT, acelConfig, 1, 100);

	printf("Acelerómetro y Giroscopio configurados en un rango de medida: +- %.2f mg,dps \r\n",MEASUREMENT_RANGE);
	printf("Sensibilidad de los sensores: %.3f ,%.6f \r\n\n",ACEL_SENSIVITY,GIR_SENSIVITY);

}

void readSensors()
{

	uint8_t buffData[12];
	uint8_t bitNewData[1];
	uint8_t i;

	HAL_I2C_Mem_Read(&hi2c2, READ_ADDR, REG_STATUS, I2C_MEMADD_SIZE_8BIT, bitNewData, 1, 100);

	while((bitNewData[0] & 0x03) != 0x03){ //Polling al bit GDA y XLDA que indica cuando hay datos nuevos del giroscopio y acelerometro

		HAL_I2C_Mem_Read(&hi2c2, READ_ADDR, REG_STATUS, I2C_MEMADD_SIZE_8BIT, bitNewData, 1, 100);

	}

	//HAL_I2C_Mem_Read(&hi2c2, READ_ADDR, REG_ACEL, I2C_MEMADD_SIZE_8BIT, buffAcel, 6, 100);

	HAL_I2C_Mem_Read(&hi2c2, READ_ADDR, REG_GIR, I2C_MEMADD_SIZE_8BIT, buffData, 12, 100);

	for(i = 0; i < 3; i++){

		girBuff[i] = (float) ((int16_t) (buffData[2*i+1] << 8) | buffData[2*i]) * GIR_SENSIVITY;

		acelBuff[i] = (float) ((int16_t) (buffData[(2*i+1)+6] << 8) | buffData[(2*i)+6]) * ACEL_SENSIVITY;

		//0.14  0.29  0.43  0.58
	}
}

/* USER CODE END 4 */

void Error_Handler(void)
{
  __disable_irq();
  while (1)
  {
  }
}
